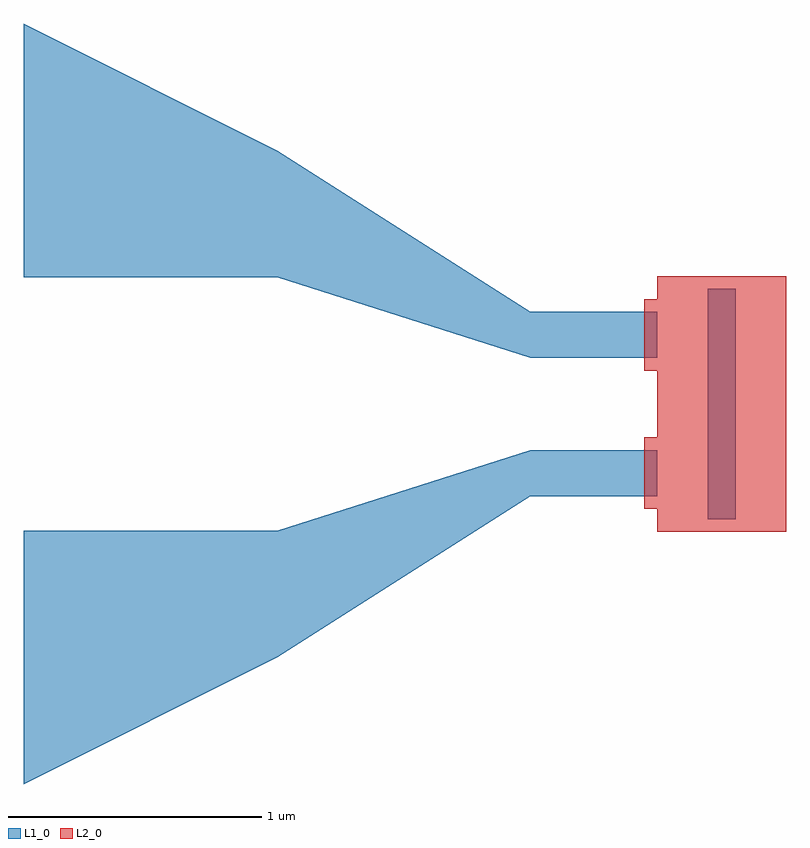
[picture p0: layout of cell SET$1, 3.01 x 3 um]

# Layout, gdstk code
import gdstk
lib = gdstk.Library(unit=1e-6, precision=1e-09)
def R(c, l, rs):  # rectangles x0, y0, x1, y1
    for r in rs: c.add(gdstk.rectangle(r[:2], r[2:], *l))
def P(c, l, *ps):  # polygons
    for p in ps: c.add(gdstk.Polygon(p, *l))
L1_0 = (1, 0)
L2_0 = (2, 0)

set_1 = lib.new_cell('SET$1')
R(set_1, L1_0, [(-0.055,-0.455,0.055,0.455), (-0.755,-0.364,-0.255,-0.182), (-0.755,0.182,-0.255,0.364)])
P(set_1, L1_0, [(-2.755,-1.5),(-2.755,-0.5),(-1.755,-0.5),(-0.755,-0.182),(-0.755,-0.364),(-1.755,-1)],
  [(-0.755,0.182),(-1.755,0.5),(-2.755,0.5),(-2.755,1.5),(-1.755,1),(-0.755,0.364)])
R(set_1, L2_0, [(-0.255,-0.505,0.255,0.505), (-0.305,-0.414,-0.255,-0.132), (-0.305,0.132,-0.255,0.414)])

lib.write_gds('SET_1.gds')
